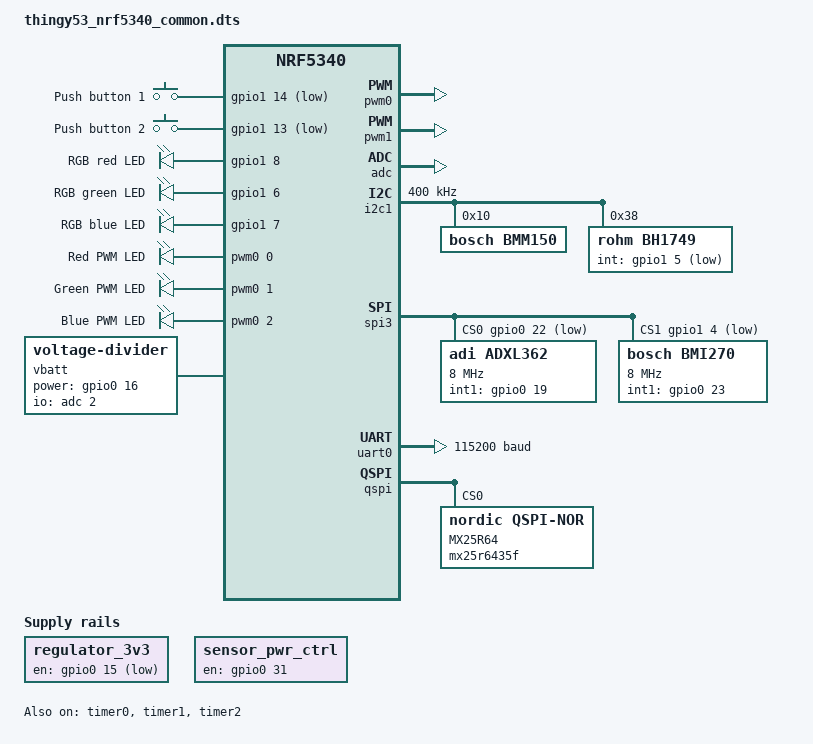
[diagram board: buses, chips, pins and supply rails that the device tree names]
/*
 * Copyright (c) 2021 Nordic Semiconductor ASA
 *
 * SPDX-License-Identifier: Apache-2.0
 */
#include "thingy53_nrf5340_common-pinctrl.dtsi"

/ {
	chosen {
		zephyr,console = &uart0;
		zephyr,shell-uart = &uart0;
		zephyr,uart-mcumgr = &uart0;
		zephyr,bt-mon-uart = &uart0;
		zephyr,bt-c2h-uart = &uart0;
		zephyr,bt-hci-rpmsg-ipc = &ipc0;
	};

	buttons {
		compatible = "gpio-keys";
		button0: button_0 {
			gpios = <&gpio1 14 (GPIO_PULL_UP | GPIO_ACTIVE_LOW)>;
			label = "Push button 1";
		};
		button1: button_1 {
			gpios = <&gpio1 13 (GPIO_PULL_UP | GPIO_ACTIVE_LOW)>;
			label = "Push button 2";
		};
	};

	leds {
		compatible = "gpio-leds";
		red_led: led_1 {
			gpios = <&gpio1 8 GPIO_ACTIVE_HIGH>;
			label = "RGB red LED";
		};
		green_led: led_2 {
			gpios = <&gpio1 6 GPIO_ACTIVE_HIGH>;
			label = "RGB green LED";
		};
		blue_led: led_3 {
			gpios = <&gpio1 7 GPIO_ACTIVE_HIGH>;
			label = "RGB blue LED";
		};
	};

	pwmleds {
		compatible = "pwm-leds";
		red_led_pwm: led_pwm_0 {
			pwms = <&pwm0 0 PWM_MSEC(20) PWM_POLARITY_NORMAL>;
			label = "Red PWM LED";
		};

		green_led_pwm: led_pwm_1 {
			pwms = <&pwm0 1 PWM_MSEC(20) PWM_POLARITY_NORMAL>;
			label = "Green PWM LED";
		};

		blue_led_pwm: led_pwm_2 {
			pwms = <&pwm0 2 PWM_MSEC(20) PWM_POLARITY_NORMAL>;
			label = "Blue PWM LED";
		};
	};

	npm1100_force_pwm_mode: npm1100_force_pwm_mode {
		compatible = "regulator-fixed-sync", "regulator-fixed";
		label = "npm1100_force_pwm_mode";
		regulator-name = "npm1100_force_pwm_mode";
		enable-gpios = <&gpio0 8 GPIO_ACTIVE_HIGH>;
		status = "disabled";
		regulator-boot-on;
	};

	vbatt {
		compatible = "voltage-divider";
		io-channels = <&adc 2>;
		output-ohms = <180000>;
		full-ohms = <(1500000 + 180000)>;
		power-gpios = <&gpio0 16 0>;
	};

	regulator_3v3: regulator-3v3-ctrl {
		compatible = "regulator-fixed-sync", "regulator-fixed";
		label = "vsys-3v3-ctrl";
		regulator-name = "ncp114";
		enable-gpios = <&gpio0 15 GPIO_ACTIVE_LOW>;
		regulator-boot-on;
	};

	sensor_pwr_ctrl: sensor-pwr-ctrl {
		compatible = "regulator-fixed-sync", "regulator-fixed";
		label = "sens-pwr-ctrl";
		regulator-name = "tck106ag";
		enable-gpios = <&gpio0 31 GPIO_ACTIVE_HIGH>;
		regulator-boot-on;
	};

	gpio_fwd: nrf-gpio-forwarder {
		compatible = "nordic,nrf-gpio-forwarder";
		status = "okay";
		fem-gpio-if {
			gpios = <&gpio1 11 0>,
				<&gpio1 12 0>,
				<&gpio1 10 0>,
				<&gpio0 30 0>;
		};
	};

	aliases {
		sw0 = &button0;
		sw1 = &button1;
		led0 = &red_led;
		led1 = &green_led;
		led2 = &blue_led;
		pwm-led0 = &red_led_pwm;
		pwm-led1 = &green_led_pwm;
		pwm-led2 = &blue_led_pwm;
		magn0 = &bmm150;
	};
};

/* RGB LED control */
&pwm0 {
	status = "okay";
	pinctrl-0 = <&pwm0_default>;
	pinctrl-1 = <&pwm0_sleep>;
	pinctrl-names = "default", "sleep";
};

/* Buzzer control */
&pwm1 {
	status = "okay";
	pinctrl-0 = <&pwm1_default>;
	pinctrl-1 = <&pwm1_sleep>;
	pinctrl-names = "default", "sleep";
};

&adc {
	status = "okay";
};

&gpiote {
	status = "okay";
};

&gpio0 {
	status = "okay";
};

&gpio1 {
	status = "okay";
};

&i2c1 {
	compatible = "nordic,nrf-twim";
	status = "okay";
	clock-frequency = <I2C_BITRATE_FAST>;

	pinctrl-0 = <&i2c1_default>;
	pinctrl-1 = <&i2c1_sleep>;
	pinctrl-names = "default", "sleep";
	bmm150: bmm150@10 {
		compatible = "bosch,bmm150";
		label = "BMM150";
		reg = <0x10>;
	};

	bh1749@38 {
		compatible = "rohm,bh1749";
		label = "BH1749";
		reg = <0x38>;
		int-gpios = <&gpio1 5 (GPIO_PULL_UP | GPIO_ACTIVE_LOW)>;
	};
};

&spi3 {
	compatible = "nordic,nrf-spim";
	status = "okay";
	cs-gpios = <&gpio0 22 GPIO_ACTIVE_LOW>,
		   <&gpio1 4  GPIO_ACTIVE_LOW>,
		   <&gpio0 24 GPIO_ACTIVE_LOW>;

	pinctrl-0 = <&spi3_default>;
	pinctrl-1 = <&spi3_sleep>;
	pinctrl-names = "default", "sleep";
	adxl362: spi-dev-adxl362@0 {
		compatible = "adi,adxl362";
		label = "ADXL362";
		spi-max-frequency = <8000000>;
		reg = <0>;
		int1-gpios = <&gpio0 19 0>;
	};

	bmi270: spi-dev-bmi270@1 {
		compatible = "bosch,bmi270";
		label = "BMI270";
		spi-max-frequency = <8000000>;
		reg = <1>;
		int1-gpios = <&gpio0 23 0>;
	};

	nrf_radio_fem_spi: fem_spi@2 {
		compatible = "nordic,nrf21540-fem-spi";
		status = "disabled";
		reg = <2>;
		label = "FEM_SPI_IF";
		spi-max-frequency = <8000000>;
	};
};

/* UART0 GPIOs can be configured for other use-cases */
&uart0 {
	current-speed = <115200>;
	status = "okay";
	pinctrl-0 = <&uart0_default>;
	pinctrl-1 = <&uart0_sleep>;
	pinctrl-names = "default", "sleep";
};

&qspi {
	status = "okay";
	pinctrl-0 = <&qspi_default>;
	pinctrl-1 = <&qspi_sleep>;
	pinctrl-names = "default", "sleep";
	mx25r64: mx25r6435f@0 {
		compatible = "nordic,qspi-nor";
		reg = <0>;
		/* MX25R64 supports only pp and pp4io */
		/* Thingy:53 supports only pp and pp2o options */
		writeoc = "pp";
		/* MX25R64 supports all readoc options */
		/* Thingy:53 supports only fastread and read2io options */
		readoc = "read2io";
		sck-frequency = <8000000>;
		label = "MX25R64";
		jedec-id = [c2 28 17];
		sfdp-bfp = [
			e5 20 f1 ff  ff ff ff 03  44 eb 08 6b  08 3b 04 bb
			ee ff ff ff  ff ff 00 ff  ff ff 00 ff  0c 20 0f 52
			10 d8 00 ff  23 72 f5 00  82 ed 04 cc  44 83 68 44
			30 b0 30 b0  f7 c4 d5 5c  00 be 29 ff  f0 d0 ff ff
		];
		size = <67108864>;
		has-dpd;
		t-enter-dpd = <10000>;
		t-exit-dpd = <35000>;
	};
};

&timer0 {
	status = "okay";
};

&timer1 {
	status = "okay";
};

&timer2 {
	status = "okay";
};

&flash0 {
	partitions {
		compatible = "fixed-partitions";
		#address-cells = <1>;
		#size-cells = <1>;

		boot_partition: partition@0 {
			label = "mcuboot";
			reg = <0x00000000 0x00010000>;
		};
		slot0_partition: partition@10000 {
			label = "image-0";
		};
		slot0_ns_partition: partition@50000 {
			label = "image-0-nonsecure";
		};
		slot1_partition: partition@80000 {
			label = "image-1";
		};
		slot1_ns_partition: partition@c0000 {
			label = "image-1-nonsecure";
		};
		scratch_partition: partition@f0000 {
			label = "image-scratch";
			reg = <0x000f0000 0xa000>;
		};
		storage_partition: partition@fa000 {
			label = "storage";
			reg = <0x000fa000 0x00006000>;
		};
	};
};

/ {

	reserved-memory {
		#address-cells = <1>;
		#size-cells = <1>;
		ranges;

		sram0_image: image@20000000 {
			/* Zephyr image(s) memory */
		};

		sram0_s: image_s@20000000 {
			/* Secure image memory */
		};

		sram0_ns: image_ns@20040000 {
			/* Non-Secure image memory */
		};
	};
};

/* Include partition configuration file */
#include "thingy53_nrf5340_partition_conf.dts"
